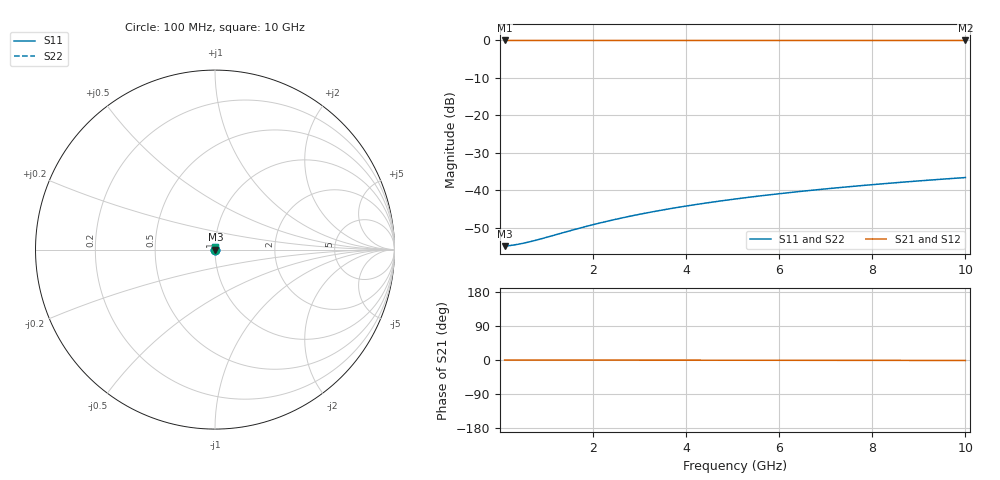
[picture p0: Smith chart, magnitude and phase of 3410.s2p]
# Hz S RI R 50.00
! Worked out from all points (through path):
!   100 points, 100 MHz to 10 GHz, reference 50 ohm
!   highest |S21| = -0.02 dB at 100 MHz (marker M1); lowest = 0.0 dB at 10 GHz (marker M2)
!   lowest |S11| = -54.9 dB at 100 MHz (marker M3), VSWR 1.00, Z = 50.2 + j0.0147 ohm
!   |S11| at or under -10 dB: start of sweep to end of sweep
!   |S22| runs from -54.9 to -36.6 dB; largest |S21 - S12| = 0
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1e8  0.0018 0.000147  0.9982 -0.000209  0.9982 -0.000209  0.0018 0.000147
3e8  0.00182 0.00044  0.9982 -0.000628  0.9982 -0.000628  0.00182 0.00044
4e8  0.00183 0.000586  0.9982 -0.000837  0.9982 -0.000837  0.00183 0.000586
6e8  0.00184 0.00088  0.9982 -0.00126  0.9982 -0.00126  0.00184 0.00088
9e8  0.00185 0.00132  0.9981 -0.00188  0.9981 -0.00188  0.00185 0.00132
1.5e9  0.00188 0.0022  0.9981 -0.00314  0.9981 -0.00314  0.00188 0.0022
1.8e9  0.00189 0.00264  0.9981 -0.00377  0.9981 -0.00377  0.00189 0.00264
2.2e9  0.0019 0.00323  0.9981 -0.0046  0.9981 -0.0046  0.0019 0.00323
2.6e9  0.00191 0.00381  0.9981 -0.00544  0.9981 -0.00544  0.00191 0.00381
3e9  0.00193 0.0044  0.9981 -0.00628  0.9981 -0.00628  0.00193 0.0044
3.4e9  0.00194 0.00498  0.9981 -0.00712  0.9981 -0.00712  0.00194 0.00498
3.8e9  0.00196 0.00557  0.998 -0.00795  0.998 -0.00795  0.00196 0.00557
4.2e9  0.00197 0.00616  0.998 -0.00879  0.998 -0.00879  0.00197 0.00616
4.6e9  0.00199 0.00674  0.998 -0.00963  0.998 -0.00963  0.00199 0.00674
5.1e9  0.00201 0.00748  0.998 -0.0107  0.998 -0.0107  0.00201 0.00748
5.5e9  0.00203 0.00806  0.998 -0.0115  0.998 -0.0115  0.00203 0.00806
5.9e9  0.00205 0.00865  0.9979 -0.0123  0.9979 -0.0123  0.00205 0.00865
6.7e9  0.00209 0.00982  0.9979 -0.014  0.9979 -0.014  0.00209 0.00982
7.5e9  0.00213 0.011  0.9979 -0.0157  0.9979 -0.0157  0.00213 0.011
8.4e9  0.00218 0.0123  0.9978 -0.0176  0.9978 -0.0176  0.00218 0.0123
9.2e9  0.00223 0.0135  0.9977 -0.0193  0.9977 -0.0193  0.00223 0.0135
1e10  0.00229 0.0147  0.9977 -0.0209  0.9977 -0.0209  0.00229 0.0147
